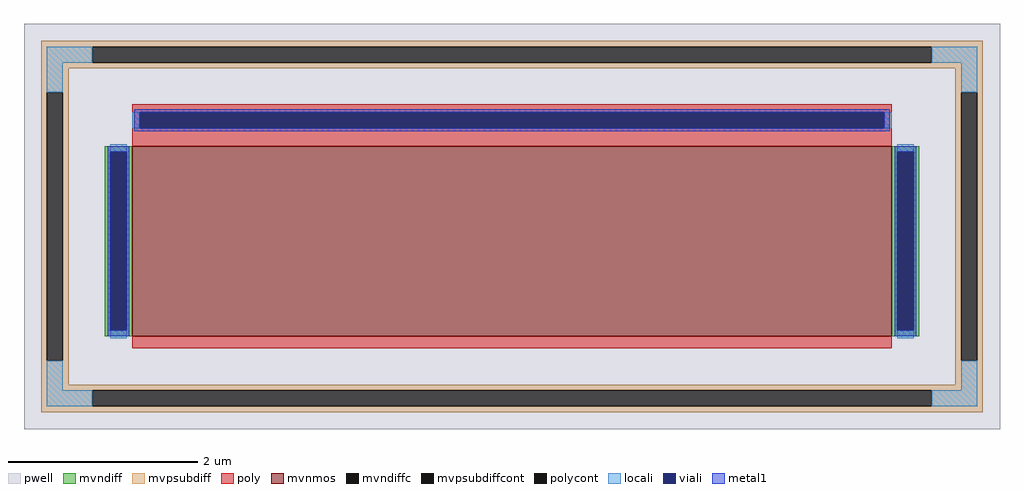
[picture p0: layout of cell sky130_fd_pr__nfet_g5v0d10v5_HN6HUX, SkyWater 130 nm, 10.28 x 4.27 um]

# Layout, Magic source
magic
tech sky130A
magscale 1 2
<< pwell >>
rect -1028 -427 1028 427
<< mvnmos >>
rect -800 -231 800 169
<< mvndiff >>
rect -858 157 -800 169
rect -858 -219 -846 157
rect -812 -219 -800 157
rect -858 -231 -800 -219
rect 800 157 858 169
rect 800 -219 812 157
rect 846 -219 858 157
rect 800 -231 858 -219
<< mvndiffc >>
rect -846 -219 -812 157
rect 812 -219 846 157
<< mvpsubdiff >>
rect -992 379 992 391
rect -992 345 -884 379
rect 884 345 992 379
rect -992 333 992 345
rect -992 283 -934 333
rect -992 -283 -980 283
rect -946 -283 -934 283
rect 934 283 992 333
rect -992 -333 -934 -283
rect 934 -283 946 283
rect 980 -283 992 283
rect 934 -333 992 -283
rect -992 -345 992 -333
rect -992 -379 -884 -345
rect 884 -379 992 -345
rect -992 -391 992 -379
<< mvpsubdiffcont >>
rect -884 345 884 379
rect -980 -283 -946 283
rect 946 -283 980 283
rect -884 -379 884 -345
<< poly >>
rect -800 241 800 257
rect -800 207 -784 241
rect 784 207 800 241
rect -800 169 800 207
rect -800 -257 800 -231
<< polycont >>
rect -784 207 784 241
<< locali >>
rect -980 345 -884 379
rect 884 345 980 379
rect -980 283 -946 345
rect 946 283 980 345
rect -800 207 -784 241
rect 784 207 800 241
rect -846 157 -812 173
rect -846 -235 -812 -219
rect 812 157 846 173
rect 812 -235 846 -219
rect -980 -345 -946 -283
rect 946 -345 980 -283
rect -980 -379 -884 -345
rect 884 -379 980 -345
<< viali >>
rect -784 207 784 241
rect -846 -219 -812 157
rect 812 -219 846 157
<< metal1 >>
rect -796 241 796 247
rect -796 207 -784 241
rect 784 207 796 241
rect -796 201 796 207
rect -852 157 -806 169
rect -852 -219 -846 157
rect -812 -219 -806 157
rect -852 -231 -806 -219
rect 806 157 852 169
rect 806 -219 812 157
rect 846 -219 852 157
rect 806 -231 852 -219
<< properties >>
string gencell sky130_fd_pr__nfet_g5v0d10v5
string FIXED_BBOX -963 -362 963 362
string parameters w 2 l 8 m 1 nf 1 diffcov 100 polycov 100 guard 1 glc 1 grc 1 gtc 1 gbc 1 tbcov 100 rlcov 100 topc 1 botc 0 poverlap 0 doverlap 1 lmin 0.50 wmin 0.42 compatible {sky130_fd_pr__nfet_01v8 sky130_fd_pr__nfet_01v8_lvt  sky130_fd_bs_flash__special_sonosfet_star  sky130_fd_pr__nfet_g5v0d10v5 sky130_fd_pr__nfet_05v0_nvt  sky130_fd_pr__nfet_03v3_nvt} full_metal 1 viasrc 100 viadrn 100 viagate 100 viagb 0 viagr 0 viagl 0 viagt 0
string library sky130
<< end >>
